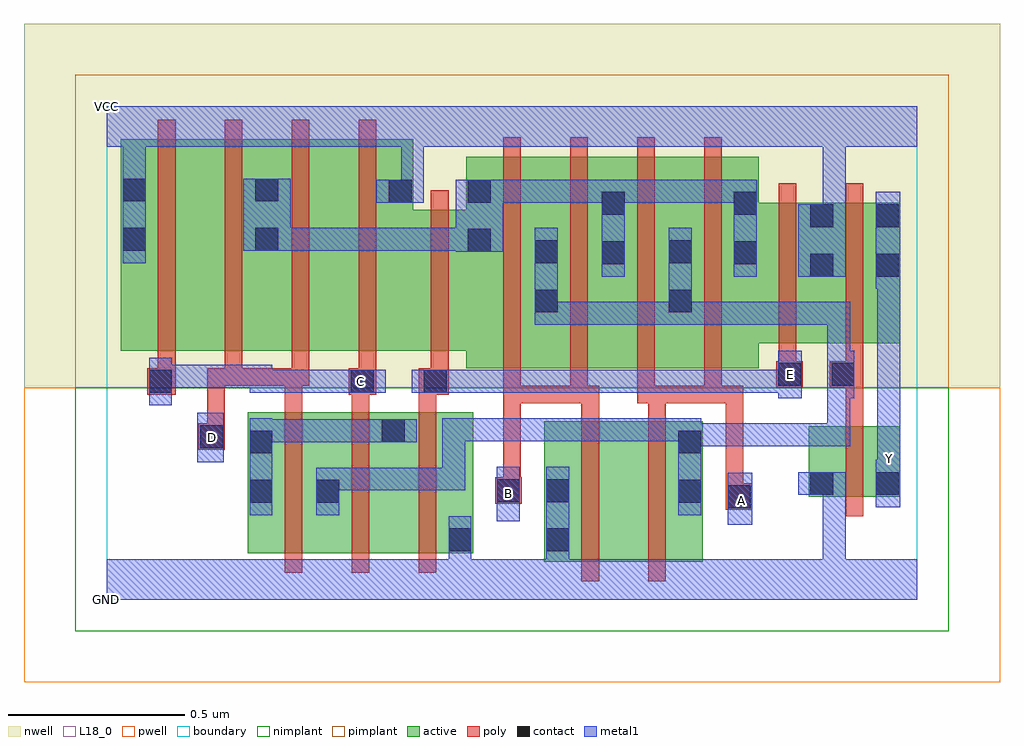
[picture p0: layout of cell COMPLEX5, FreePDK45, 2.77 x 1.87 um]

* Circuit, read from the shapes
.subckt COMPLEX5 A B C D E GND VCC Y
M1 n1 D n2 VSUBS nfet w=0.4u l=0.05u
M2 n2 C n1 VSUBS nfet w=0.4u l=0.05u
M3 GND E n2 VSUBS nfet w=0.4u l=0.05u
M4 n3 B GND VSUBS nfet w=0.4u l=0.05u
M5 n1 A n3 VSUBS nfet w=0.4u l=0.05u
M6 Y n1 GND VSUBS nfet w=0.2u l=0.05u
M7 n4 C VCC n5 pfet w=0.6u l=0.05u
M8 n6 D n4 n5 pfet w=0.6u l=0.05u
M9 n7 D n6 n5 pfet w=0.6u l=0.05u
M10 VCC C n7 n5 pfet w=0.6u l=0.05u
M11 n6 E VCC n5 pfet w=0.4u l=0.05u m=2
M12 n1 B n6 n5 pfet w=0.6u l=0.05u m=2
M13 n1 A n6 n5 pfet w=0.6u l=0.05u m=2
M14 Y n1 VCC n5 pfet w=0.4u l=0.05u
.ends

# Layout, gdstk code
import gdstk
lib = gdstk.Library(unit=1e-6, precision=1e-09)
def R(c, l, rs):  # rectangles x0, y0, x1, y1
    for r in rs: c.add(gdstk.rectangle(r[:2], r[2:], *l))
def A(c, l, x, y, w, h, nx, ny, dx, dy):  # array of equal rectangles
    R(c, l, [(x+i*dx, y+j*dy, x+i*dx+w, y+j*dy+h) for i in range(nx) for j in range(ny)])
active = (1, 0)
pwell = (2, 0)
nwell = (3, 0)
nimplant = (4, 0)
pimplant = (5, 0)
poly = (9, 0)
contact = (10, 0)
metal1 = (11, 0)
L18_0 = (18, 0)
boundary = (235, 0)

complex5 = lib.new_cell('COMPLEX5')
A(complex5, active, 1.02, 0.657, 0.265, 0.6, 3, 1, 0.19, 0)
R(complex5, active, [(1.242,0.107,1.467,0.507), (1.242,0.107,1.317,0.507), (1.467,0.107,1.692,0.507), (0.4,0.132,0.665,0.532), (0.59,0.132,0.85,0.532), (0.775,0.132,1.04,0.532), (0.965,0.132,1.04,0.532), (0.4,0.147,0.475,0.532), (0.59,0.147,0.665,0.492), (0.775,0.147,0.85,0.532), (1.617,0.147,1.692,0.507), (1.992,0.292,2.067,0.492), (1.992,0.292,2.252,0.492), (2.177,0.292,2.252,0.492), (1.21,0.657,1.285,1.07), (1.59,0.657,1.85,1.257), (1.59,0.657,1.665,1.07), (0.04,0.707,0.265,1.307), (0.04,0.707,0.115,1.307), (0.265,0.707,0.492,1.307), (0.417,0.707,0.492,1.2), (0.417,0.707,0.645,1.307), (0.645,0.707,0.87,1.307), (0.795,0.707,1.095,1.107), (1.02,0.707,1.095,1.2), (1.4,0.707,1.475,1.2), (1.775,0.727,2.067,1.127), (1.992,0.727,2.252,1.127), (2.177,0.727,2.252,1.127), (1.992,0.757,2.067,1.127), (0.795,0.802,0.87,1.307), (1.775,0.827,1.85,1.2)])
R(complex5, pwell, [(-0.235,-0.235,2.535,0.602)])
R(complex5, nwell, [(-0.235,0.602,2.535,1.635)])
R(complex5, nimplant, [(-0.09,-0.09,2.39,0.602)])
R(complex5, pimplant, [(-0.09,0.602,2.39,1.49)])
A(complex5, poly, 0.505, 0.077, 0.05, 0.51, 3, 1, 0.19, 0)
A(complex5, poly, 1.125, 0.557, 0.05, 0.095, 4, 1, 0.19, 0)
A(complex5, poly, 1.125, 0.602, 0.05, 0.71, 4, 1, 0.19, 0)
A(complex5, poly, 0.145, 0.607, 0.05, 0.095, 4, 1, 0.19, 0)
A(complex5, poly, 0.145, 0.652, 0.05, 0.71, 4, 1, 0.19, 0)
R(complex5, poly, [(1.347,0.052,1.397,0.562), (1.537,0.052,1.587,0.562), (2.097,0.237,2.147,0.547), (1.757,0.255,1.832,0.33), (1.102,0.272,1.177,0.347), (1.757,0.28,1.807,0.607), (1.125,0.297,1.175,0.607), (1.125,0.297,1.175,0.347), (1.125,0.297,1.175,0.347), (0.26,0.425,0.335,0.5), (0.285,0.45,0.335,0.5), (0.285,0.45,0.335,0.5), (0.285,0.45,0.335,0.657), (2.097,0.497,2.147,0.652), (1.347,0.512,1.397,0.607), (1.537,0.512,1.587,0.607), (0.505,0.537,0.555,0.657), (0.695,0.537,0.745,0.632), (0.885,0.537,0.935,0.632), (1.125,0.557,1.175,0.607), (1.125,0.557,1.175,0.607), (1.125,0.557,1.175,0.607), (1.125,0.557,1.365,0.607), (1.315,0.557,1.397,0.607), (1.505,0.557,1.587,0.607), (1.537,0.557,1.745,0.607), (1.695,0.557,1.745,0.607), (1.695,0.557,1.745,0.607), (1.695,0.557,1.792,0.607), (1.742,0.557,1.792,0.607), (1.742,0.557,1.807,0.607), (0.115,0.582,0.195,0.657), (0.687,0.582,0.765,0.657), (0.885,0.582,0.97,0.657), (1.9,0.602,1.975,0.677), (2.052,0.602,2.147,0.677), (0.285,0.607,0.385,0.657), (0.335,0.607,0.385,0.657), (0.335,0.607,0.385,0.657), (0.335,0.607,0.555,0.657), (0.505,0.607,0.575,0.657), (0.92,0.607,0.97,0.702), (1.907,0.627,1.957,0.722), (2.097,0.627,2.147,0.722), (0.92,0.652,0.97,1.162), (1.907,0.672,1.957,1.182), (2.097,0.672,2.147,1.182)])
R(complex5, contact, [(0.97,0.137,1.035,0.202), (1.247,0.137,1.312,0.202), (1.762,0.26,1.827,0.325), (0.405,0.275,0.47,0.34), (0.595,0.275,0.66,0.34), (1.622,0.275,1.687,0.34), (1.107,0.277,1.172,0.342), (1.247,0.277,1.312,0.342), (1.997,0.297,2.062,0.362), (2.182,0.297,2.247,0.362), (0.405,0.415,0.47,0.48), (1.622,0.415,1.687,0.48), (0.265,0.43,0.33,0.495), (0.78,0.447,0.845,0.512), (0.12,0.587,0.185,0.652), (0.692,0.587,0.757,0.652), (0.9,0.587,0.965,0.652), (1.905,0.607,1.97,0.672), (2.057,0.607,2.122,0.672), (1.215,0.815,1.28,0.88), (1.595,0.815,1.66,0.88), (1.997,0.917,2.062,0.982), (2.182,0.917,2.247,0.982), (1.405,0.952,1.47,1.017), (1.78,0.952,1.845,1.017), (1.215,0.955,1.28,1.02), (1.595,0.955,1.66,1.02), (1.025,0.987,1.09,1.052), (0.045,0.99,0.11,1.055), (0.422,0.99,0.487,1.055), (1.997,1.057,2.062,1.122), (2.182,1.057,2.247,1.122), (1.405,1.092,1.47,1.157), (1.78,1.092,1.845,1.157), (0.8,1.127,0.865,1.192), (1.025,1.127,1.09,1.192), (0.045,1.13,0.11,1.195), (0.422,1.13,0.487,1.195)])
R(complex5, metal1, [(0,0,2.3,0.115), (0.97,0.05,1.035,0.167), (1.247,0.05,1.312,0.167), (2.032,0.05,2.097,0.115), (2.032,0.05,2.097,0.115), (2.032,0.05,2.097,0.362), (0.97,0.102,1.035,0.237), (1.247,0.102,1.312,0.377), (1.762,0.212,1.832,0.36), (1.107,0.222,1.172,0.377), (0.405,0.24,0.47,0.515), (0.595,0.24,0.66,0.375), (1.622,0.24,1.687,0.515), (2.182,0.262,2.252,0.397), (1.962,0.297,2.097,0.362), (2.032,0.297,2.097,0.362), (2.032,0.297,2.097,0.362), (0.595,0.31,0.66,0.375), (0.595,0.31,0.66,0.375), (0.595,0.31,0.797,0.375), (0.732,0.31,0.797,0.375), (0.732,0.31,0.797,0.375), (0.732,0.31,0.797,0.375), (0.732,0.31,1.017,0.375), (0.952,0.31,1.017,0.375), (0.952,0.31,1.017,0.515), (2.187,0.332,2.252,0.397), (2.187,0.332,2.252,0.467), (0.257,0.39,0.332,0.53), (2.187,0.402,2.252,0.947), (1.622,0.435,1.687,0.5), (1.622,0.435,1.687,0.5), (1.622,0.435,1.87,0.5), (1.805,0.435,1.87,0.5), (1.805,0.435,1.87,0.5), (1.805,0.435,1.87,0.5), (1.805,0.435,2.11,0.5), (2.045,0.435,2.11,0.5), (2.045,0.435,2.11,0.707), (0.405,0.447,0.47,0.512), (0.405,0.447,0.47,0.512), (0.405,0.447,0.66,0.512), (0.595,0.447,0.66,0.512), (0.595,0.447,0.66,0.512), (0.595,0.447,0.66,0.512), (0.595,0.447,0.81,0.512), (0.745,0.447,0.88,0.512), (0.952,0.45,1.017,0.515), (0.952,0.45,1.137,0.515), (1.072,0.45,1.137,0.515), (1.072,0.45,1.332,0.515), (1.267,0.45,1.332,0.515), (1.267,0.45,1.332,0.515), (1.267,0.45,1.332,0.515), (1.267,0.45,1.522,0.515), (1.457,0.45,1.522,0.515), (1.457,0.45,1.522,0.515), (1.457,0.45,1.522,0.515), (1.457,0.45,1.687,0.515), (0.12,0.552,0.185,0.687), (1.905,0.572,1.972,0.707), (2.057,0.572,2.122,0.707), (0.405,0.587,0.66,0.652), (0.405,0.587,0.47,0.667), (0.595,0.587,0.66,0.652), (0.595,0.587,0.717,0.652), (0.652,0.587,0.792,0.652), (0.865,0.587,1,0.652), (0.935,0.587,1,0.652), (0.935,0.587,1,0.652), (0.935,0.587,1.137,0.652), (1.072,0.587,1.137,0.652), (1.072,0.587,1.332,0.652), (1.267,0.587,1.332,0.652), (1.267,0.587,1.332,0.652), (1.267,0.587,1.332,0.652), (1.267,0.587,1.522,0.652), (1.457,0.587,1.522,0.652), (1.457,0.587,1.522,0.652), (1.457,0.587,1.522,0.652), (1.457,0.587,1.66,0.652), (1.595,0.587,1.66,0.652), (1.595,0.587,1.66,0.652), (1.595,0.587,1.66,0.652), (1.595,0.587,1.89,0.652), (1.825,0.587,1.89,0.652), (1.825,0.587,1.97,0.652), (0.12,0.602,0.185,0.667), (0.12,0.602,0.185,0.667), (0.12,0.602,0.332,0.667), (0.267,0.602,0.332,0.667), (0.267,0.602,0.332,0.667), (0.267,0.602,0.332,0.667), (0.267,0.602,0.47,0.667), (2.045,0.642,2.11,0.707), (2.045,0.642,2.122,0.707), (2.045,0.642,2.11,0.845), (1.215,0.78,1.28,0.845), (1.215,0.78,1.28,0.845), (1.215,0.78,1.28,1.055), (1.215,0.78,1.47,0.845), (1.405,0.78,1.47,0.845), (1.405,0.78,1.47,0.845), (1.405,0.78,1.47,0.845), (1.405,0.78,1.66,0.845), (1.595,0.78,1.66,0.845), (1.595,0.78,1.66,0.845), (1.595,0.78,1.66,1.055), (1.595,0.78,1.825,0.845), (1.76,0.78,1.825,0.845), (1.76,0.78,1.825,0.845), (1.76,0.78,1.825,0.845), (1.76,0.78,2.11,0.845), (2.045,0.78,2.11,0.845), (2.182,0.882,2.252,1.157), (1.405,0.917,1.47,1.192), (1.78,0.917,1.845,1.192), (1.962,0.917,2.097,1.122), (0.045,0.955,0.11,1.23), (0.99,0.987,1.125,1.192), (0.387,0.99,0.522,1.195), (0.457,0.99,0.522,1.055), (0.457,0.99,0.522,1.055), (0.457,0.99,0.66,1.055), (0.595,0.99,0.66,1.055), (0.595,0.99,0.66,1.055), (0.595,0.99,0.66,1.055), (0.595,0.99,0.862,1.055), (0.797,0.99,0.862,1.055), (0.797,0.99,0.862,1.055), (0.797,0.99,0.862,1.055), (0.797,0.99,1.055,1.055), (2.032,1.057,2.097,1.35), (0.765,1.127,0.9,1.192), (0.835,1.127,0.9,1.35), (1.06,1.127,1.125,1.192), (1.06,1.127,1.125,1.192), (1.06,1.127,1.137,1.192), (1.072,1.127,1.137,1.192), (1.072,1.127,1.332,1.192), (1.267,1.127,1.332,1.192), (1.267,1.127,1.332,1.192), (1.267,1.127,1.332,1.192), (1.267,1.127,1.47,1.192), (1.405,1.127,1.47,1.192), (1.405,1.127,1.47,1.192), (1.405,1.127,1.66,1.192), (1.595,1.127,1.66,1.192), (1.595,1.127,1.66,1.192), (1.595,1.127,1.66,1.192), (1.595,1.127,1.845,1.192), (0.045,1.165,0.11,1.35), (0,1.285,2.3,1.4), (2.032,1.285,2.097,1.35), (2.032,1.285,2.097,1.35)])
R(complex5, L18_0, [(0,0,2.3,0.115), (0.97,0.05,1.035,0.167), (1.247,0.05,1.312,0.167), (2.032,0.05,2.097,0.115), (2.032,0.05,2.097,0.115), (2.032,0.05,2.097,0.362), (0.97,0.102,1.035,0.237), (1.247,0.102,1.312,0.377), (1.762,0.212,1.832,0.36), (1.107,0.222,1.172,0.377), (1.767,0.247,1.832,0.312), (2.182,0.262,2.252,0.397), (1.107,0.267,1.172,0.332), (1.962,0.297,2.097,0.362), (2.032,0.297,2.097,0.362), (2.032,0.297,2.097,0.362), (2.187,0.332,2.252,0.467), (2.187,0.332,2.252,0.397), (2.187,0.367,2.252,0.432), (0.257,0.39,0.332,0.53), (2.187,0.402,2.252,0.947), (0.267,0.427,0.332,0.492), (0.12,0.552,0.185,0.687), (1.905,0.572,1.972,0.707), (0.405,0.587,0.47,0.667), (0.405,0.587,0.66,0.652), (0.595,0.587,0.66,0.652), (0.595,0.587,0.717,0.652), (0.652,0.587,0.792,0.652), (0.687,0.587,0.752,0.652), (0.865,0.587,1,0.652), (0.935,0.587,1,0.652), (0.935,0.587,1,0.652), (0.935,0.587,1.137,0.652), (1.072,0.587,1.137,0.652), (1.072,0.587,1.332,0.652), (1.267,0.587,1.332,0.652), (1.267,0.587,1.332,0.652), (1.267,0.587,1.332,0.652), (1.267,0.587,1.522,0.652), (1.457,0.587,1.522,0.652), (1.457,0.587,1.522,0.652), (1.457,0.587,1.522,0.652), (1.457,0.587,1.66,0.652), (1.595,0.587,1.66,0.652), (1.595,0.587,1.66,0.652), (1.595,0.587,1.66,0.652), (1.595,0.587,1.89,0.652), (1.825,0.587,1.89,0.652), (1.825,0.587,1.97,0.652), (0.12,0.602,0.185,0.667), (0.12,0.602,0.185,0.667), (0.12,0.602,0.332,0.667), (0.267,0.602,0.332,0.667), (0.267,0.602,0.332,0.667), (0.267,0.602,0.332,0.667), (0.267,0.602,0.47,0.667), (1.907,0.607,1.972,0.672), (2.182,0.882,2.252,1.157), (1.962,0.917,2.097,1.122), (0.045,0.955,0.11,1.23), (2.032,1.057,2.097,1.35), (0.765,1.127,0.9,1.192), (0.835,1.127,0.9,1.35), (0.045,1.165,0.11,1.35), (0,1.285,2.3,1.4), (2.032,1.285,2.097,1.35), (2.032,1.285,2.097,1.35)])
R(complex5, boundary, [(0,0,2.3,1.4)])
complex5.add(gdstk.Label('A', (1.8,0.28), layer=11, texttype=0))
complex5.add(gdstk.Label('B', (1.14,0.3), layer=11, texttype=0))
complex5.add(gdstk.Label('C', (0.72,0.62), layer=11, texttype=0))
complex5.add(gdstk.Label('D', (0.3,0.46), layer=11, texttype=0))
complex5.add(gdstk.Label('E', (1.94,0.64), layer=11, texttype=0))
complex5.add(gdstk.Label('Y', (2.22,0.4), layer=11, texttype=0))
complex5.add(gdstk.Label('VCC', (0,1.4), layer=11, texttype=0))
complex5.add(gdstk.Label('GND', (0,0), layer=11, texttype=0))

lib.write_gds('COMPLEX5.gds')
